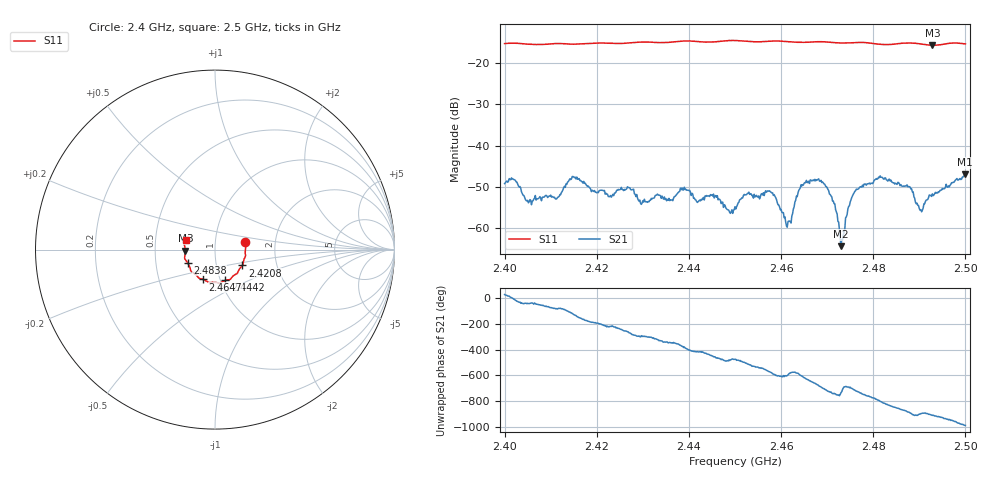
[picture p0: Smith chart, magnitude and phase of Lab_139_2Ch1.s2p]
# Hz S RI R 50
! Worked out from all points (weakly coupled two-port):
!   601 points, 2.4 GHz to 2.5 GHz, reference 50 ohm
!   highest |S21| = -46.96 dB at 2.4998 GHz (marker M1); lowest = -64.5 dB at 2.473 GHz (marker M2)
!   lowest |S11| = -15.6 dB at 2.4928 GHz (marker M3), VSWR 1.40, Z = 35.8 - j0.425 ohm
!   |S11| at or under -10 dB: start of sweep to end of sweep
!   S12 and S22 are empty: the file has one direction only
!   S11 on the Smith chart (normalised r, x): 2.4 GHz: 1.40, +0.12; 2.4208 GHz: 1.33, -0.24; 2.4442 GHz: 1.05, -0.37; 2.4647 GHz: 0.83, -0.29; 2.4838 GHz: 0.73, -0.11; 2.5 GHz: 0.71, +0.07
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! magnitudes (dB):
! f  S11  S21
! 2.4 GHz  -15.2  -49.3
! 2.402 GHz  -15.1  -48.3
! 2.4057 GHz  -15.4  -53.3
! 2.4167 GHz  -15.3  -48.7
! 2.4208 GHz  -15.1  -50.9
! 2.4333 GHz  -15.0  -52.0
! 2.4442 GHz  -14.9  -52.3
! 2.45 GHz  -14.5  -54.9
! 2.4575 GHz  -14.6  -51.0
! 2.4617 GHz  -14.8  -58.4
! 2.4647 GHz  -14.9  -49.5
! 2.4667 GHz  -14.8  -48.6
! 2.4703 GHz  -14.9  -51.0
! 2.473 GHz  -15.1  -64.5
! 2.4762 GHz  -15.0  -51.0
! 2.4833 GHz  -15.5  -48.3
! 2.4838 GHz  -15.4  -48.4
! 2.4878 GHz  -15.1  -50.0
! 2.4903 GHz  -15.3  -55.6
! 2.4928 GHz  -15.6  -51.7
! 2.4998 GHz  -15.3  -47.0
! 2.5 GHz  -15.3  -47.0
